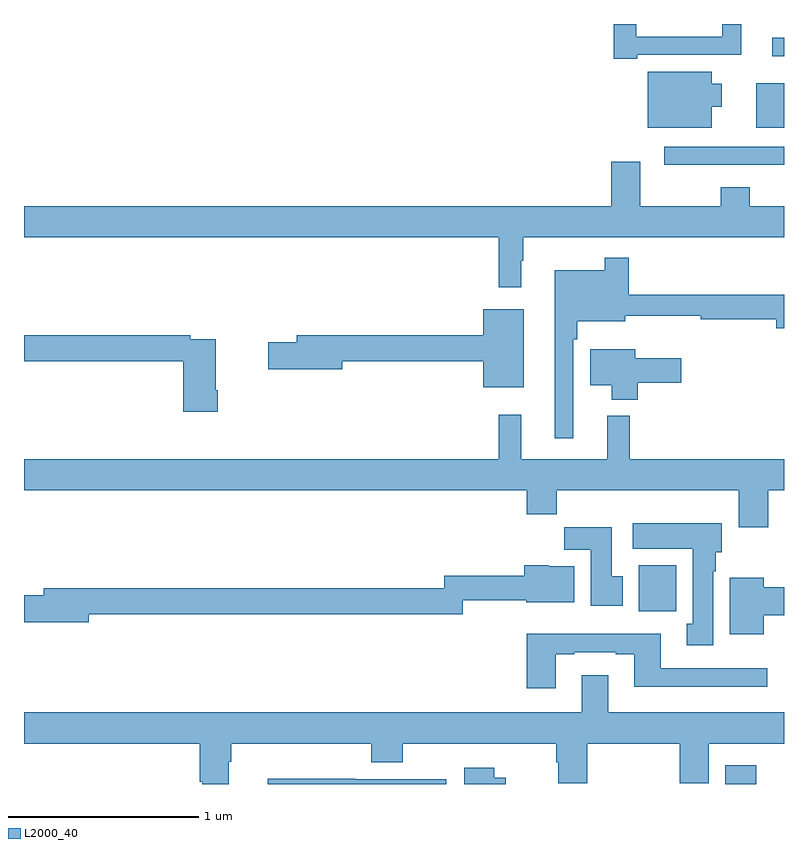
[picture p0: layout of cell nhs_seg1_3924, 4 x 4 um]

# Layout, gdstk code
import gdstk
lib = gdstk.Library(unit=1e-6, precision=1e-09)
def R(c, l, rs):  # rectangles x0, y0, x1, y1
    for r in rs: c.add(gdstk.rectangle(r[:2], r[2:], *l))
def P(c, l, *ps):  # polygons
    for p in ps: c.add(gdstk.Polygon(p, *l))
L2000_40 = (2000, 40)

nhs_seg1_3924 = lib.new_cell('nhs_seg1_3924')
R(nhs_seg1_3924, L2000_40, [(328.692,538.199,328.853,538.297), (328.235,539.108,328.432,539.35), (328.853,541.652,329,541.888), (328.938,542.03,329,542.127)])
P(nhs_seg1_3924, L2000_40, [(328.228,542.037),(328.774,542.037),(328.774,542.199),(328.676,542.199),(328.676,542.133),(328.222,542.133),(328.222,542.199),(328.105,542.199),(328.105,542.017),(328.228,542.017)],
  [(328.621,541.763),(328.672,541.763),(328.672,541.885),(328.621,541.885),(328.621,541.948),(328.283,541.948),(328.283,541.652),(328.621,541.652)],
  [(329,541.554),(328.371,541.554),(328.371,541.458),(328.909,541.458),(328.909,541.457),(329,541.457)],
  [(327.616,540.953),(327.628,540.953),(327.628,541.076),(329,541.076),(329,541.24),(328.821,541.24),(328.821,541.339),(328.666,541.339),(328.666,541.24),(328.243,541.24),(328.243,541.474),(328.091,541.474),(328.091,541.24),(325,541.24),(325,541.076),(327.499,541.076),(327.499,540.813),(327.616,540.813)],
  [(327.891,540.539),(327.911,540.539),(327.911,540.635),(328.165,540.635),(328.165,540.664),(328.562,540.664),(328.562,540.646),(328.958,540.646),(328.958,540.599),(329,540.599),(329,540.775),(328.184,540.775),(328.184,540.97),(328.056,540.97),(328.056,540.904),(327.794,540.904),(327.794,540.018),(327.891,540.018)],
  [(327.631,540.697),(327.416,540.697),(327.416,540.56),(326.435,540.56),(326.435,540.524),(326.286,540.524),(326.286,540.382),(326.674,540.382),(326.674,540.424),(327.416,540.424),(327.416,540.287),(327.631,540.287)],
  [(326.021,540.271),(326.008,540.271),(326.008,540.54),(325.874,540.54),(325.874,540.56),(325,540.56),(325,540.424),(325.838,540.424),(325.838,540.159),(326.021,540.159)],
  [(328.229,540.31),(328.459,540.31),(328.459,540.439),(328.216,540.439),(328.216,540.487),(327.98,540.487),(327.98,540.299),(328.094,540.299),(328.094,540.221),(328.229,540.221)],
  [(328.916,539.744),(329,539.744),(329,539.908),(328.187,539.908),(328.187,540.136),(328.07,540.136),(328.07,539.908),(327.617,539.908),(327.617,540.142),(327.499,540.142),(327.499,539.908),(325,539.908),(325,539.744),(327.647,539.744),(327.647,539.62),(327.803,539.62),(327.803,539.744),(328.763,539.744),(328.763,539.55),(328.916,539.55)],
  [(328.627,539.318),(328.642,539.318),(328.642,539.418),(328.672,539.418),(328.672,539.572),(328.203,539.572),(328.203,539.438),(328.52,539.438),(328.52,539.042),(328.487,539.042),(328.487,538.929),(328.627,538.929)],
  [(328.15,539.292),(328.093,539.292),(328.093,539.551),(327.844,539.551),(327.844,539.432),(327.983,539.432),(327.983,539.136),(328.15,539.136)],
  [(325.342,539.092),(327.309,539.092),(327.309,539.167),(327.644,539.167),(327.644,539.156),(327.895,539.156),(327.895,539.344),(327.762,539.344),(327.762,539.35),(327.632,539.35),(327.632,539.296),(327.213,539.296),(327.213,539.228),(325.103,539.228),(325.103,539.192),(325,539.192),(325,539.05),(325.342,539.05)],
  [(328.894,539.087),(329,539.087),(329,539.234),(328.894,539.234),(328.894,539.284),(328.715,539.284),(328.715,538.988),(328.894,538.988)],
  [(327.799,538.881),(327.895,538.881),(327.895,538.893),(328.115,538.893),(328.115,538.881),(328.211,538.881),(328.211,538.712),(328.912,538.712),(328.912,538.809),(328.351,538.809),(328.351,538.99),(327.647,538.99),(327.647,538.704),(327.799,538.704)],
  [(326.077,538.316),(326.09,538.316),(326.09,538.412),(326.828,538.412),(326.828,538.313),(326.993,538.313),(326.993,538.412),(327.8,538.412),(327.8,538.314),(327.812,538.314),(327.812,538.204),(327.965,538.204),(327.965,538.412),(328.451,538.412),(328.451,538.204),(328.603,538.204),(328.603,538.412),(329,538.412),(329,538.576),(328.075,538.576),(328.075,538.771),(327.935,538.771),(327.935,538.576),(325,538.576),(325,538.412),(325.925,538.412),(325.925,538.21),(325.937,538.21),(325.937,538.199),(326.077,538.199)],
  [(327.536,538.233),(327.474,538.233),(327.474,538.285),(327.318,538.285),(327.318,538.199),(327.536,538.199)],
  [(327.222,538.224),(326.744,538.224),(326.744,538.226),(326.282,538.226),(326.282,538.199),(327.222,538.199)])

lib.write_gds('nhs_seg1_3924.gds')
